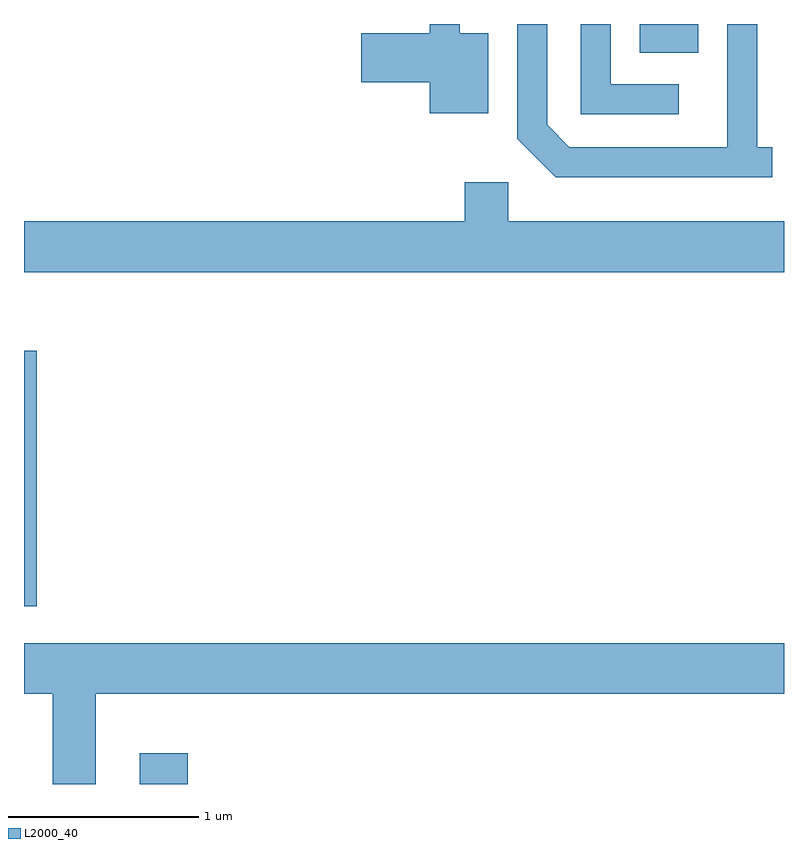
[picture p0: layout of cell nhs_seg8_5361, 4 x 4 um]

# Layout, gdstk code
import gdstk
lib = gdstk.Library(unit=1e-6, precision=1e-09)
def R(c, l, rs):  # rectangles x0, y0, x1, y1
    for r in rs: c.add(gdstk.rectangle(r[:2], r[2:], *l))
def P(c, l, *ps):  # polygons
    for p in ps: c.add(gdstk.Polygon(p, *l))
L2000_40 = (2000, 40)

nhs_seg8_5361 = lib.new_cell('nhs_seg8_5361')
R(nhs_seg8_5361, L2000_40, [(346.221,1880.342,346.474,1880.504), (345.611,1881.278,345.679,1882.623), (348.851,1884.191,349.159,1884.342)])
P(nhs_seg8_5361, L2000_40, [(348.054,1884.294),(347.904,1884.294),(347.904,1884.342),(347.746,1884.342),(347.746,1884.294),(347.386,1884.294),(347.386,1884.036),(347.746,1884.036),(347.746,1883.871),(348.054,1883.871)],
  [(349.548,1883.694),(349.469,1883.694),(349.469,1884.342),(349.311,1884.342),(349.311,1883.694),(348.482,1883.694),(348.364,1883.812),(348.364,1884.342),(348.206,1884.342),(348.206,1883.739),(348.409,1883.536),(349.548,1883.536)],
  [(349.058,1884.024),(348.699,1884.024),(348.699,1884.342),(348.541,1884.342),(348.541,1883.866),(349.058,1883.866)],
  [(349.611,1883.304),(348.159,1883.304),(348.159,1883.509),(347.931,1883.509),(347.931,1883.304),(345.611,1883.304),(345.611,1883.036),(349.611,1883.036)],
  [(345.989,1880.816),(349.611,1880.816),(349.611,1881.084),(345.611,1881.084),(345.611,1880.816),(345.761,1880.816),(345.761,1880.342),(345.989,1880.342)])

lib.write_gds('nhs_seg8_5361.gds')
